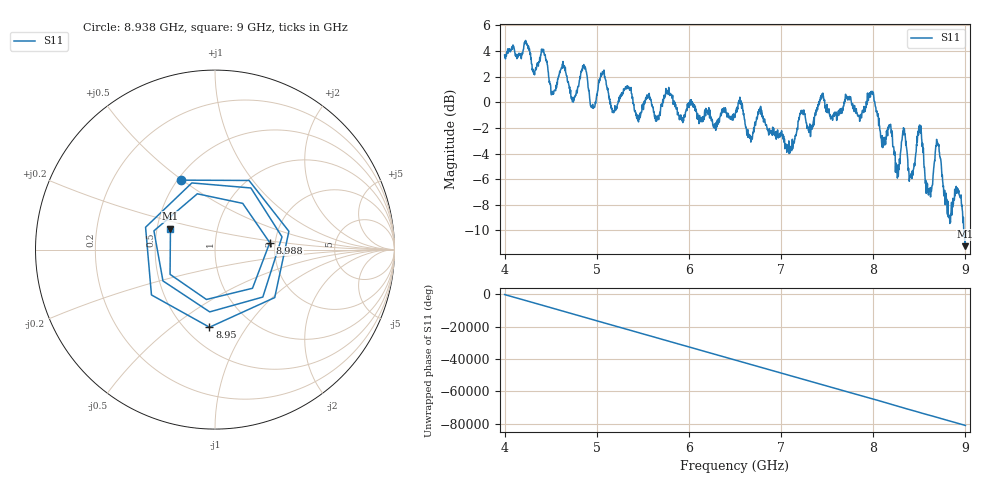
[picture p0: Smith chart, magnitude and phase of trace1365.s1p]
! Created with skrf 1.8.0 (http://scikit-rf.org).
# Hz S RI R 50.0
!freq ReS11 ImS11
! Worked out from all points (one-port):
!   1601 points, 4 GHz to 9 GHz, reference 50 ohm
!   lowest |S11| = -11.2 dB at 9 GHz (marker M1), VSWR 1.76, Z = 29.4 + j7.48 ohm
!   |S11| at or under -10 dB: 8.982119 GHz to end of sweep
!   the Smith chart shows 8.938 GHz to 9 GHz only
!   S11 on the Smith chart (normalised r, x): 8.938 GHz: 0.52, +0.50; 8.95 GHz: 0.65, -0.69; 8.988 GHz: 1.87, +0.16; 9 GHz: 0.59, +0.15
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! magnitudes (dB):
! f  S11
! 4 GHz  3.7
! 4.419 GHz  3.9
! 4.528 GHz  0.8
! 4.625 GHz  2.8
! 4.744 GHz  0.0
! 4.856 GHz  2.7
! 4.953 GHz  -0.3
! 5.062 GHz  2.4
! 5.169 GHz  -0.8
! 5.25 GHz  0.3
! 5.875 GHz  -1.0
! 6.5 GHz  -1.2
! 7.125 GHz  -3.6
! 7.225 GHz  -0.9
! 7.75 GHz  0.3
! 7.984 GHz  0.6
! 8.262 GHz  -5.9
! 8.331 GHz  -2.1
! 8.375 GHz  -4.5
! 8.416 GHz  -5.7
! 8.5 GHz  -1.8
! 8.597 GHz  -7.2
! 8.697 GHz  -3.1
! 8.819 GHz  -8.8
! 8.938 GHz  -7.3
! 8.95 GHz  -7.3
! 8.988 GHz  -10.2
! 9 GHz  -11.2
